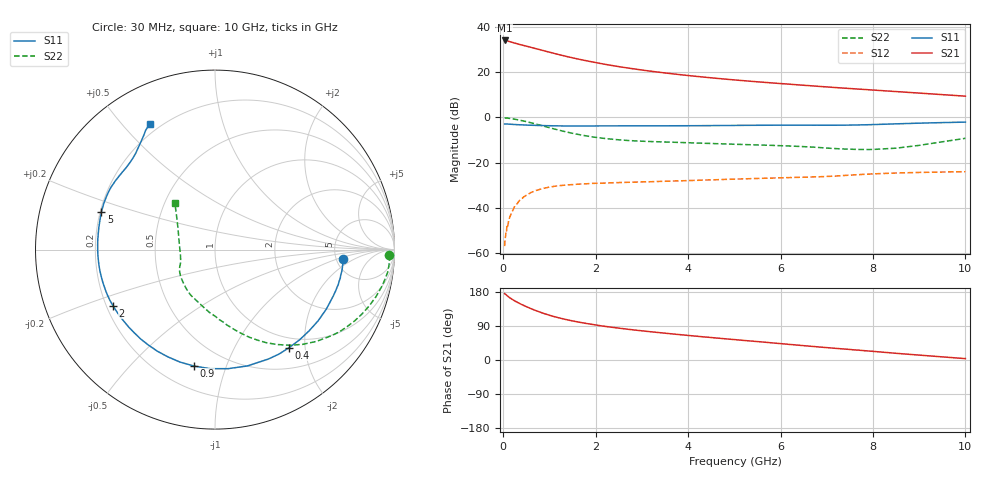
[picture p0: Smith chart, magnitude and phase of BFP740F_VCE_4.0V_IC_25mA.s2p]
! Infineon Technologies  Discrete & RF Semiconductors
! BFP740F
! VCE =  4.0 V,  IC =  25 mA
! Common Emitter S-Parameters:  Oct 2012
# GHz  S  MA  R  50
!  f  S11  S21  S12  S22
! GHz  MAG  ANG  MAG  ANG  MAG  ANG  MAG  ANG
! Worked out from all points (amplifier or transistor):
!   99 points, 30 MHz to 10 GHz, reference 50 ohm
!   highest |S21| = 34.2 dB at 30 MHz (marker M1)
!   |S21| within 3 dB of that: start of sweep to 589.3 MHz
!   unconditionally stable (mu >= 1): 5.592 GHz to end of sweep
!   at 350 MHz: K = 0.20, MSG = 34.6 dB, |S12| = -36.9 dB
!   at 3.5 GHz: K = 0.74, MSG = 24.0 dB, |S12| = -28.3 dB
!   at 10 GHz: K = 1.17, MAG = 14.2 dB, |S12| = -24.0 dB
!   S11 on the Smith chart (normalised r, x): 30 MHz: 5.82, -1.20; 400 MHz: 0.83, -1.70; 900 MHz: 0.34, -0.78; 2 GHz: 0.23, -0.24; 5 GHz: 0.21, +0.15; 10 GHz: 0.16, +0.60
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0.03  0.7174 -4.0  51.01 175.4  0.0014 76.0  0.9708 -1.8
0.07  0.7164 -10.0  50.34 171.3  0.0028 77.4  0.9726 -5.7
0.12  0.7115 -17.2  48.78 166.3  0.0054 78.0  0.9605 -10.1
0.2  0.7033 -28.1  46.08 159.6  0.0084 73.5  0.9335 -16.5
0.3  0.6927 -40.8  43.11 152.6  0.0122 69.0  0.8945 -23.6
0.4  0.6848 -52.9  40.53 146.4  0.0158 64.6  0.8517 -30.3
0.6  0.6729 -74.4  35.88 135.5  0.0216 55.9  0.7627 -42.1
0.7  0.6674 -83.8  33.73 130.6  0.0239 52.0  0.7178 -47.4
0.9  0.6592 -100.3  29.81 121.9  0.0272 45.5  0.632 -56.8
1.1  0.6526 -113.9  26.37 114.6  0.0297 40.3  0.5569 -64.9
1.3  0.6484 -125.0  23.45 108.4  0.0313 36.6  0.4949 -71.9
1.5  0.6459 -134.1  21.01 103.1  0.0325 33.9  0.4452 -78.1
1.7  0.6458 -141.8  18.97 98.5  0.0336 31.8  0.4056 -83.7
2  0.6486 -151.3  16.52 92.5  0.0347 29.4  0.3623 -92.0
2.6  0.651 -165.1  12.93 82.6  0.0363 26.8  0.3139 -105.4
3.4  0.6533 -178.2  9.99 72.0  0.0382 25.7  0.2882 -117.6
4  0.6554 173.6  8.513 64.8  0.0398 25.7  0.2753 -123.8
5  0.6661 161.7  6.805 53.9  0.0429 25.9  0.2547 -134.1
5.1  0.6677 160.7  6.67 52.8  0.0432 25.8  0.253 -135.3
6.7  0.6733 143.4  5.002 35.8  0.048 26.2  0.2199 -153.5
8.5  0.7219 125.4  3.754 17.7  0.0587 23.5  0.2085 164.5
10  0.7891 117.3  2.968 3.7  0.0628 18.3  0.3448 130.5
